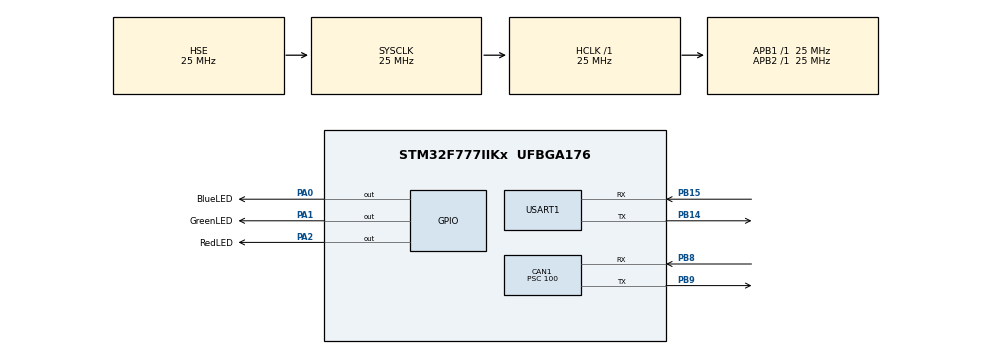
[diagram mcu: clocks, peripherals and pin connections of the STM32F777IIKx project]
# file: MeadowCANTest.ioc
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CAN1.BS1=CAN_BS1_5TQ
CAN1.BS2=CAN_BS2_4TQ
CAN1.CalculateTimeQuantum=4000.0
CAN1.Mode=CAN_MODE_NORMAL
CAN1.NART=DISABLE
CAN1.Prescaler=100
Mcu.Family=STM32F7
Mcu.Name=STM32F777IIKx
Mcu.Package=UFBGA176
NVIC.CAN1_RX0_IRQn=true\:0\:0\:false\:false\:true\:true\:true
NVIC.PriorityGroup=NVIC_PRIORITYGROUP_4
PA0/WKUP.GPIO_Label=BlueLED
PA0/WKUP.PinState=GPIO_PIN_SET
PA0/WKUP.Signal=GPIO_Output
PA1.GPIO_Label=GreenLED
PA1.PinState=GPIO_PIN_SET
PA1.Signal=GPIO_Output
PA2.GPIO_Label=RedLED
PA2.PinState=GPIO_PIN_SET
PA2.Signal=GPIO_Output
PB14.Mode=Asynchronous
PB14.Signal=USART1_TX
PB15.Mode=Asynchronous
PB15.Signal=USART1_RX
PB8.Mode=Master
PB8.Signal=CAN1_RX
PB9.Mode=Master
PB9.Signal=CAN1_TX
PH0/OSC_IN.Mode=HSE-External-Oscillator
PH0/OSC_IN.Signal=RCC_OSC_IN
PH1/OSC_OUT.Mode=HSE-External-Oscillator
PH1/OSC_OUT.Signal=RCC_OSC_OUT
ProjectManager.HeapSize=0x200
ProjectManager.StackSize=0x400
ProjectManager.TargetToolchain=STM32CubeIDE
RCC.AHBFreq_Value=25000000
RCC.APB1Freq_Value=25000000
RCC.APB1TimFreq_Value=25000000
RCC.APB2Freq_Value=25000000
RCC.APB2TimFreq_Value=25000000
RCC.CortexFreq_Value=25000000
RCC.DATA_CACHE_ENABLE=0
RCC.HCLKFreq_Value=25000000
RCC.HSE_VALUE=25000000
RCC.HSI_VALUE=16000000
RCC.INSTRUCTION_CACHE_ENABLE=0
RCC.LSE_VALUE=32768
RCC.PREFETCH_ENABLE=1
RCC.SYSCLKFreq_VALUE=25000000
RCC.SYSCLKSource=RCC_SYSCLKSOURCE_HSE
RCC.USBFreq_Value=96000000
RCC.VCOOutputFreq_Value=192000000
USART1.VirtualMode-Asynchronous=VM_ASYNC
board=custom

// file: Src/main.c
/* USER CODE BEGIN Header */
/**
  ******************************************************************************
  * @file           : main.c
  * @brief          : Main program body
  ******************************************************************************
  ** This notice applies to any and all portions of this file
  * that are not between comment pairs USER CODE BEGIN and
  * USER CODE END. Other portions of this file, whether
  * inserted by the user or by software development tools
  * are owned by their respective copyright owners.
  *
  * COPYRIGHT(c) 2019 STMicroelectronics
  *
  * Redistribution and use in source and binary forms, with or without modification,
  * are permitted provided that the following conditions are met:
  *   1. Redistributions of source code must retain the above copyright notice,
  *      this list of conditions and the following disclaimer.
  *   2. Redistributions in binary form must reproduce the above copyright notice,
  *      this list of conditions and the following disclaimer in the documentation
  *      and/or other materials provided with the distribution.
  *   3. Neither the name of STMicroelectronics nor the names of its contributors
  *      may be used to endorse or promote products derived from this software
  *      without specific prior written permission.
  *
  * THIS SOFTWARE IS PROVIDED BY THE COPYRIGHT HOLDERS AND CONTRIBUTORS "AS IS"
  * AND ANY EXPRESS OR IMPLIED WARRANTIES, INCLUDING, BUT NOT LIMITED TO, THE
  * IMPLIED WARRANTIES OF MERCHANTABILITY AND FITNESS FOR A PARTICULAR PURPOSE ARE
  * DISCLAIMED. IN NO EVENT SHALL THE COPYRIGHT HOLDER OR CONTRIBUTORS BE LIABLE
  * FOR ANY DIRECT, INDIRECT, INCIDENTAL, SPECIAL, EXEMPLARY, OR CONSEQUENTIAL
  * DAMAGES (INCLUDING, BUT NOT LIMITED TO, PROCUREMENT OF SUBSTITUTE GOODS OR
  * SERVICES; LOSS OF USE, DATA, OR PROFITS; OR BUSINESS INTERRUPTION) HOWEVER
  * CAUSED AND ON ANY THEORY OF LIABILITY, WHETHER IN CONTRACT, STRICT LIABILITY,
  * OR TORT (INCLUDING NEGLIGENCE OR OTHERWISE) ARISING IN ANY WAY OUT OF THE USE
  * OF THIS SOFTWARE, EVEN IF ADVISED OF THE POSSIBILITY OF SUCH DAMAGE.
  *
  ******************************************************************************
  */
/* USER CODE END Header */

#include "main.h"
#include "can.h"
#include "usart.h"
#include "gpio.h"

/* USER CODE BEGIN Includes */

#include <string.h>

/* USER CODE END Includes */

/* USER CODE BEGIN PV */

CAN_TxHeaderTypeDef   TxHeader;
CAN_RxHeaderTypeDef   RxHeader;
uint8_t               TxData[8];
uint8_t               RxData[8];
uint32_t              TxMailbox;

/* USER CODE END PV */

void SystemClock_Config(void);

/* USER CODE BEGIN 0 */

/**
  * @brief  Rx Fifo 0 message pending callback
  * @param  hcan: pointer to a CAN_HandleTypeDef structure that contains
  *         the configuration information for the specified CAN.
  * @retval None
  */
void HAL_CAN_RxFifo0MsgPendingCallback(CAN_HandleTypeDef *hcan)
{
  /* Get RX message */
  if (HAL_CAN_GetRxMessage(hcan, CAN_RX_FIFO0, &RxHeader, RxData) != HAL_OK)
  {
    /* Reception Error */
    Error_Handler();
  }

  if ((RxHeader.StdId == 0x123) && (RxHeader.IDE == CAN_ID_STD) && (RxHeader.DLC == 2))
  {
    char buffer[256];
    uint16_t counter = ((RxData[1] << 8) + RxData[0]);
    snprintf(buffer, sizeof(buffer), "Received message number: %d\n", counter);
    HAL_UART_Transmit(&huart1, (uint8_t *) buffer, strlen(buffer), HAL_MAX_DELAY);
  }
}

/* USER CODE END 0 */

int main(void)
{

  /* MCU Configuration--------------------------------------------------------*/

  /* Reset of all peripherals, Initializes the Flash interface and the Systick. */
  HAL_Init();

  /* Configure the system clock */
  SystemClock_Config();

  /* USER CODE BEGIN SysInit */

 HAL_CAN_MspInit(&hcan1);

  /* USER CODE END SysInit */

  /* Initialize all configured peripherals */
  MX_GPIO_Init();
  MX_CAN1_Init();
  MX_USART1_UART_Init();
  /* USER CODE BEGIN 2 */

  HAL_GPIO_WritePin(GreenLED_GPIO_Port, GreenLED_Pin, GPIO_PIN_SET);
  HAL_GPIO_WritePin(BlueLED_GPIO_Port, RedLED_Pin, GPIO_PIN_SET);
  HAL_GPIO_WritePin(RedLED_GPIO_Port,RedLED_Pin, GPIO_PIN_SET);

  /* USER CODE END 2 */

  /* Infinite loop */
  /* USER CODE BEGIN WHILE */

  uint16_t  counter = 0;

  CAN_FilterTypeDef  sFilterConfig;

  sFilterConfig.FilterBank = 0;
  sFilterConfig.FilterMode = CAN_FILTERMODE_IDMASK;
  sFilterConfig.FilterScale = CAN_FILTERSCALE_32BIT;
  sFilterConfig.FilterIdHigh = 0x0000;
  sFilterConfig.FilterIdLow = 0x123;
  sFilterConfig.FilterMaskIdHigh = 0x0000;
  sFilterConfig.FilterMaskIdLow = 0x0000;
  sFilterConfig.FilterFIFOAssignment = CAN_RX_FIFO0;
  sFilterConfig.FilterActivation = ENABLE;
  sFilterConfig.SlaveStartFilterBank = 14;

  if (HAL_CAN_ConfigFilter(&hcan1, &sFilterConfig) != HAL_OK)
  {
    /* Filter configuration Error */
    Error_Handler();
  }

  if (HAL_CAN_Start(&hcan1) != HAL_OK)
  {
    /* Start Error */
    Error_Handler();
  }

  if (HAL_CAN_ActivateNotification(&hcan1, CAN_IT_RX_FIFO0_MSG_PENDING) != HAL_OK)
  {
    /* Notification Error */
    Error_Handler();
  }

  //
  //  Setup the header.
  //
  TxHeader.StdId = 0x321;
  TxHeader.ExtId = 0x01;
  TxHeader.RTR = CAN_RTR_DATA;
  TxHeader.IDE = CAN_ID_STD;
  TxHeader.DLC = 2;
  TxHeader.TransmitGlobalTime = DISABLE;

  while (1)
  {
    char buffer[256];

    snprintf(buffer, sizeof(buffer), "Sending message number: %d\n", counter);
    HAL_UART_Transmit(&huart1, (uint8_t *) buffer, strlen(buffer), HAL_MAX_DELAY);
    TxData[0] = (uint8_t) (counter & 0xff);
    TxData[1] = (uint8_t) ((counter >> 8) & 0xff);
    if (counter > 65535)
    {
      counter = 0;
    }
    else
    {
      counter++;
    }

    if (HAL_CAN_AddTxMessage(&hcan1, &TxHeader, TxData, &TxMailbox) != HAL_OK)
    {
      /* Transmission request Error */
      Error_Handler();
    }
    HAL_GPIO_TogglePin(GreenLED_GPIO_Port, GreenLED_Pin);
    // while(HAL_CAN_GetTxMailboxesFreeLevel(&hcan1) != 3);
    HAL_Delay(200);

    /* USER CODE END WHILE */

  }
}

void SystemClock_Config(void)
{
  RCC_OscInitTypeDef RCC_OscInitStruct = {0};
  RCC_ClkInitTypeDef RCC_ClkInitStruct = {0};
  RCC_PeriphCLKInitTypeDef PeriphClkInitStruct = {0};

  /** Configure the main internal regulator output voltage
  */
  __HAL_RCC_PWR_CLK_ENABLE();
  __HAL_PWR_VOLTAGESCALING_CONFIG(PWR_REGULATOR_VOLTAGE_SCALE3);
  /** Initializes the CPU, AHB and APB busses clocks
  */
  RCC_OscInitStruct.OscillatorType = RCC_OSCILLATORTYPE_HSE;
  RCC_OscInitStruct.HSEState = RCC_HSE_ON;
  RCC_OscInitStruct.PLL.PLLState = RCC_PLL_NONE;
  if (HAL_RCC_OscConfig(&RCC_OscInitStruct) != HAL_OK)
  {
    Error_Handler();
  }
  /** Initializes the CPU, AHB and APB busses clocks
  */
  RCC_ClkInitStruct.ClockType = RCC_CLOCKTYPE_HCLK|RCC_CLOCKTYPE_SYSCLK
                              |RCC_CLOCKTYPE_PCLK1|RCC_CLOCKTYPE_PCLK2;
  RCC_ClkInitStruct.SYSCLKSource = RCC_SYSCLKSOURCE_HSE;
  RCC_ClkInitStruct.AHBCLKDivider = RCC_SYSCLK_DIV1;
  RCC_ClkInitStruct.APB1CLKDivider = RCC_HCLK_DIV1;
  RCC_ClkInitStruct.APB2CLKDivider = RCC_HCLK_DIV1;

  if (HAL_RCC_ClockConfig(&RCC_ClkInitStruct, FLASH_LATENCY_0) != HAL_OK)
  {
    Error_Handler();
  }
  PeriphClkInitStruct.PeriphClockSelection = RCC_PERIPHCLK_USART1;
  PeriphClkInitStruct.Usart1ClockSelection = RCC_USART1CLKSOURCE_PCLK2;
  if (HAL_RCCEx_PeriphCLKConfig(&PeriphClkInitStruct) != HAL_OK)
  {
    Error_Handler();
  }
}

void Error_Handler(void)
{
}

/************************ (C) COPYRIGHT STMicroelectronics *****END OF FILE****/
